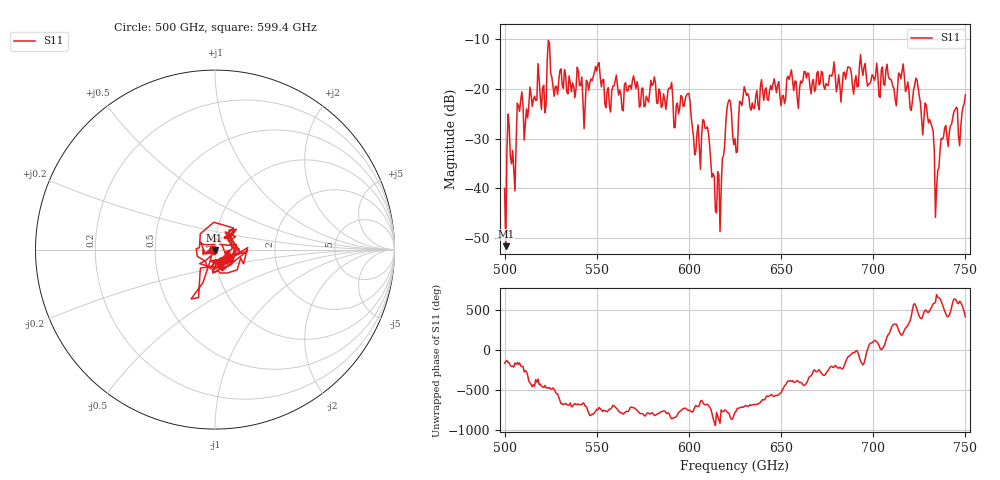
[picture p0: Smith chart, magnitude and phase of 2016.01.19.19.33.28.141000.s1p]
!Created with skrf (http://scikit-rf.org).
# GHz S RI R 50.0
!freq ReS11 ImS11
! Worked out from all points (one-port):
!   401 points, 500 GHz to 750 GHz, reference 50 ohm
!   lowest |S11| = -51.6 dB at 500.6 GHz (marker M1), VSWR 1.01, Z = 49.8 - j0.16 ohm
!   |S11| at or under -10 dB: start of sweep to end of sweep
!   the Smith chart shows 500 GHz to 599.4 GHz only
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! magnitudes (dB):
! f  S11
! 500 GHz  -40.0
! 500.6 GHz  -51.6
! 502.5 GHz  -27.5
! 505 GHz  -36.6
! 508.1 GHz  -24.6
! 521.2 GHz  -19.3
! 524.4 GHz  -11.0
! 527.5 GHz  -19.5
! 531.2 GHz  -19.3
! 543.8 GHz  -22.9
! 550 GHz  -16.4
! 562.5 GHz  -20.3
! 580.6 GHz  -19.1
! 593.8 GHz  -22.9
! 599.4 GHz  -21.0
! 605 GHz  -27.3
! 608.8 GHz  -28.0
! 615.6 GHz  -36.7
! 621.2 GHz  -22.8
! 625 GHz  -30.0
! 630.6 GHz  -20.4
! 656.2 GHz  -18.5
! 687.5 GHz  -15.8
! 718.8 GHz  -18.6
! 729.4 GHz  -25.3
! 734.4 GHz  -40.1
! 738.1 GHz  -29.7
! 750 GHz  -21.2
